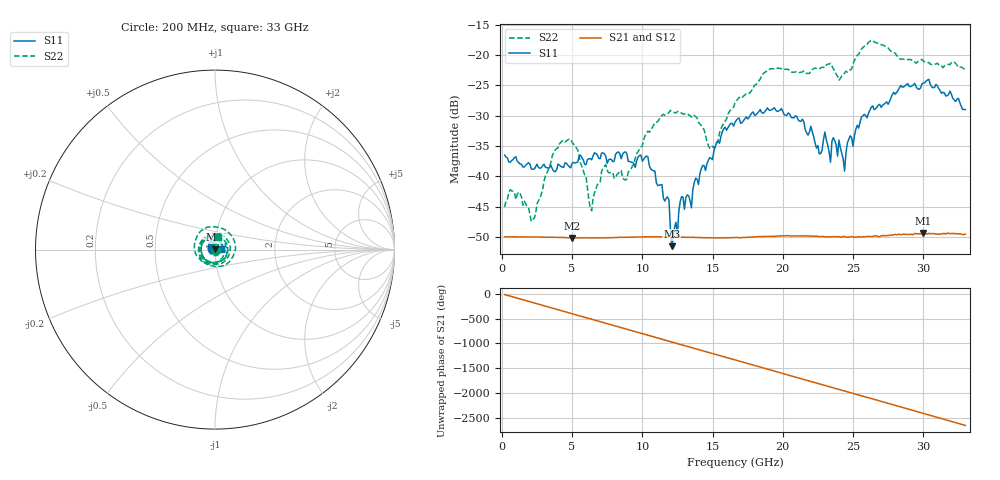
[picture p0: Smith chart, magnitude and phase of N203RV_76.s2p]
# GHZ S RI R 50
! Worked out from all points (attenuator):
!   329 points, 200 MHz to 33 GHz, reference 50 ohm
!   highest |S21| = -49.32 dB at 30 GHz (marker M1); lowest = -50.1 dB at 5 GHz (marker M2)
!   lowest |S11| = -51.5 dB at 12.1 GHz (marker M3), VSWR 1.01, Z = 49.7 + j0.0835 ohm
!   |S11| at or under -10 dB: start of sweep to end of sweep
!   |S22| runs from -47.4 to -17.6 dB; largest |S21 - S12| = 7.3e-05
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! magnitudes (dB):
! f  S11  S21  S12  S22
! 200 MHz  -36.5  -50.0  -49.9  -45.0
! 2.1 GHz  -38.8  -50.0  -50.0  -47.4
! 3.7 GHz  -39.1  -50.0  -50.0  -36.1
! 5 GHz  -37.9  -50.1  -50.1  -34.3
! 5.7 GHz  -36.9  -50.1  -50.1  -38.3
! 6.4 GHz  -37.3  -50.1  -50.1  -45.7
! 7.2 GHz  -36.1  -50.1  -50.1  -38.6
! 8.9 GHz  -36.2  -50.0  -50.0  -40.4
! 11.2 GHz  -41.4  -49.9  -49.9  -30.6
! 11.9 GHz  -43.9  -50.0  -49.9  -29.5
! 12.1 GHz  -51.5  -50.0  -49.9  -29.3
! 12.8 GHz  -43.3  -50.0  -50.0  -29.5
! 13.5 GHz  -45.2  -50.0  -50.0  -30.2
! 15.1 GHz  -35.8  -50.1  -50.1  -35.3
! 16.6 GHz  -31.1  -50.1  -50.1  -27.9
! 22.1 GHz  -32.6  -49.8  -49.8  -22.4
! 24 GHz  -34.0  -49.9  -49.9  -24.2
! 24.4 GHz  -39.1  -49.9  -49.9  -23.0
! 25.6 GHz  -30.2  -50.0  -49.9  -19.0
! 27.6 GHz  -27.7  -49.7  -49.7  -19.1
! 30 GHz  -24.6  -49.3  -49.4  -21.0
! 33 GHz  -29.0  -49.5  -49.5  -22.7
